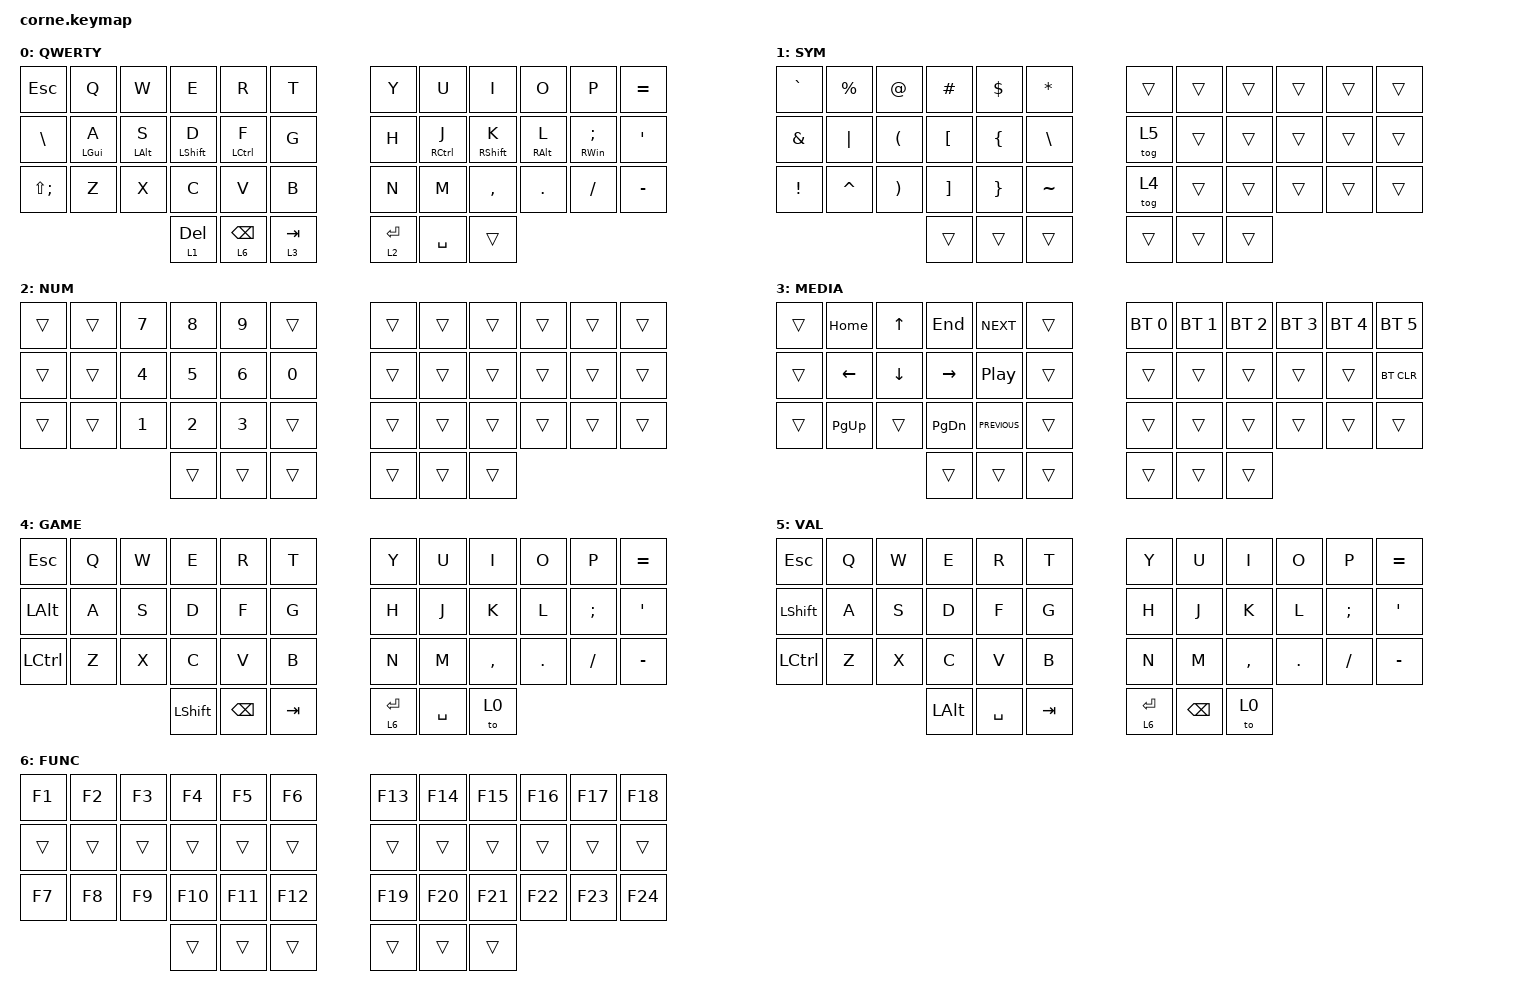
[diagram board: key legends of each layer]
/*
 * Copyright (c) 2020 The ZMK Contributors
 *
 * SPDX-License-Identifier: MIT
 */

#include <behaviors.dtsi>
#include <dt-bindings/zmk/keys.h>
#include <dt-bindings/zmk/bt.h>

/ {
        behaviors {
                hm: homerow_mods {
                compatible = "zmk,behavior-hold-tap";
                label = "HOMEROW_MODS";
                #binding-cells = <2>;
                tapping-term-ms = <200>;
                quick-tap-ms = <125>;
                flavor = "tap-preferred";
                bindings = <&kp>, <&kp>;
                };
                lth: layer_tap_hold {
                compatible = "zmk,behavior-hold-tap";
                label = "LAYER_TAP_HOLD";
                #binding-cells = <2>;
                tapping-term-ms = <200>;
                quick-tap-ms = <200>;
                flavor = "tap-preferred";
                bindings = <&mo>, <&kp>;
                };
                unstick: unstick {
                label = "UNSTICK";
                compatible = "zmk,behavior-macro";
                #binding-cells = <0>;
                bindings = <&kp LEFT_SHIFT &kp RIGHT_SHIFT &kp LEFT_GUI &kp RIGHT_WIN &kp RIGHT_CONTROL &kp LEFT_CONTROL &kp RIGHT_ALT &kp LEFT_ALT>;
                };
        };
        keymap {
                compatible = "zmk,keymap";

                default_layer {
                        label = "QWERTY";

                        bindings = <
   &kp ESCAPE   &kp Q &kp W &kp E &kp R &kp T   &kp Y &kp U  &kp I     &kp O   &kp P    &kp EQUAL
   &kp BACKSLASH &hm LEFT_GUI A &hm LEFT_ALT S &hm LEFT_SHIFT D &hm LEFT_CONTROL F &kp G   &kp H &hm RIGHT_CONTROL J  &hm RIGHT_SHIFT K     &hm RIGHT_ALT L   &hm RIGHT_WIN SEMI &kp SINGLE_QUOTE
   &kp LS(SEMICOLON) &kp Z &kp X &kp C &kp V &kp B   &kp N &kp M  &kp COMMA &kp DOT &kp FSLH &kp MINUS
                  &lth 1 DELETE &lth 6 BACKSPACE &lth 3 TAB   &lth 2 ENTER &kp SPACE &trans
                        >;
                };
                symbol_layer {
                        label = "SYM";

                        bindings = <
   &kp GRAVE &kp PERCENT &kp AT_SIGN &kp HASH &kp DOLLAR &kp ASTERISK                          &trans &trans &trans &trans &trans &trans
   &kp AMPERSAND &kp PIPE &kp LEFT_PARENTHESIS &kp LEFT_BRACKET &kp LEFT_BRACE &kp BACKSLASH   &tog 5 &trans &trans &trans &trans &trans
   &kp EXCLAMATION &kp CARET &kp RIGHT_PARENTHESIS &kp RIGHT_BRACKET &kp RIGHT_BRACE &kp TILDE &tog 4 &trans &trans &trans &trans &trans
                        &trans &trans &trans   &trans &trans &trans
                        >;
                };

                numpad_layer {
                        label = "NUM";

                        bindings = <
   &trans &trans &kp NUMBER_7 &kp NUMBER_8 &kp NUMBER_9 &trans   &trans &trans &trans &trans &trans &trans
   &trans &trans &kp NUMBER_4 &kp NUMBER_5 &kp NUMBER_6 &kp NUMBER_0   &trans &trans &trans &trans &trans &trans
   &trans &trans &kp NUMBER_1 &kp NUMBER_2 &kp NUMBER_3 &trans   &trans &trans &trans &trans &trans &trans
                    	&trans &trans &trans   &trans &trans &trans
                        >;
                };
                media_layer {
                        label = "MEDIA";

                        bindings = <
   &trans &kp HOME &kp UP_ARROW &kp  END                &kp C_NEXT       &trans   &bt BT_SEL 0 &bt BT_SEL 1 &bt BT_SEL 2 &bt BT_SEL 3 &bt BT_SEL 4 &bt BT_SEL 5
   &trans &kp LEFT_ARROW &kp DOWN_ARROW &kp RIGHT_ARROW &kp C_PLAY_PAUSE &trans   &trans &trans &trans &trans &trans &bt BT_CLR
   &trans &kp PG_UP &trans &kp PG_DN                    &kp C_PREVIOUS   &trans   &trans &trans &trans &trans &trans &trans
                    	&trans &trans &trans   &trans &trans &trans
                        >;
                };
                games_layer {
                        label = "GAME";

                        bindings = <
   &kp ESCAPE   &kp Q &kp W &kp E &kp R &kp T   &kp Y &kp U  &kp I     &kp O   &kp P    &kp EQUAL
   &kp LEFT_ALT &kp A &kp S &kp D &kp F &kp G   &kp H &kp J &kp K &kp L &kp SEMICOLON &kp SINGLE_QUOTE
   &kp LEFT_CONTROL &kp Z &kp X &kp C &kp V &kp B   &kp N &kp M  &kp COMMA &kp DOT &kp FSLH &kp MINUS
                    	&kp LEFT_SHIFT &kp BSPC &kp TAB   &lt 6 ENTER &kp SPACE &to 0
                        >;
                };
                val_layer {
                        label = "VAL";

                        bindings = <
   &kp ESCAPE   &kp Q &kp W &kp E &kp R &kp T   &kp Y &kp U  &kp I     &kp O   &kp P    &kp EQUAL
   &kp LEFT_SHIFT &kp A &kp S &kp D &kp F &kp G   &kp H &kp J &kp K &kp L &kp SEMICOLON &kp SINGLE_QUOTE
   &kp LEFT_CONTROL &kp Z &kp X &kp C &kp V &kp B   &kp N &kp M  &kp COMMA &kp DOT &kp FSLH &kp MINUS
                    	&kp LEFT_ALT &kp SPACE &kp TAB   &lt 6 ENTER &kp BACKSPACE &to 0
                        >;
                };
                func_layer {
                        label = "FUNC";

                        bindings = <
   &kp F1 &kp F2 &kp F3 &kp F4  &kp F5  &kp F6    &kp F13 &kp F14 &kp F15 &kp F16 &kp F17 &kp F18
   &trans &trans &trans &trans  &trans  &trans    &trans &trans &trans &trans &trans &trans
   &kp F7 &kp F8 &kp F9 &kp F10 &kp F11 &kp F12   &kp F19 &kp F20 &kp F21 &kp F22 &kp F23 &kp F24
                    	&trans &trans &trans   &trans &trans &trans
                        >;
                };
        };
};
